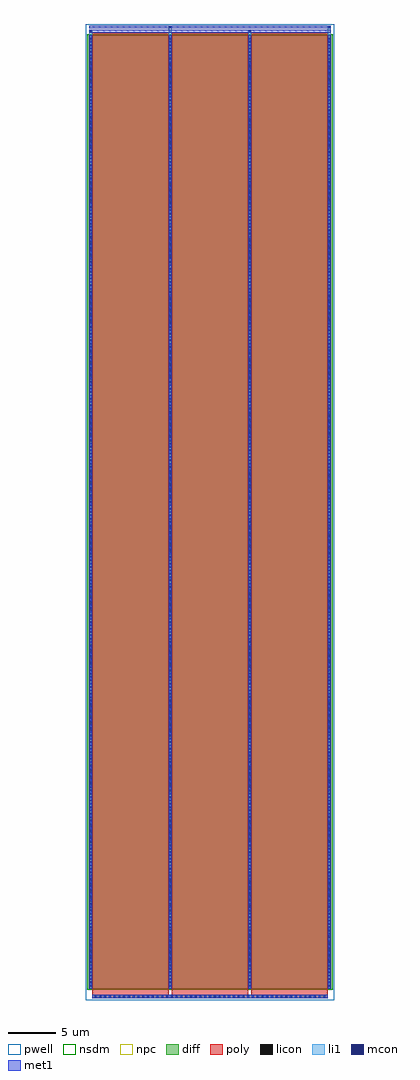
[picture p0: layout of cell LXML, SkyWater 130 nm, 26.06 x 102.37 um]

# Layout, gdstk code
import gdstk
lib = gdstk.Library(unit=1e-6, precision=5e-09)
def R(c, l, rs):  # rectangles x0, y0, x1, y1
    for r in rs: c.add(gdstk.rectangle(r[:2], r[2:], *l))
def A(c, l, x, y, w, h, nx, ny, dx, dy):  # array of equal rectangles
    R(c, l, [(x+i*dx, y+j*dy, x+i*dx+w, y+j*dy+h) for i in range(nx) for j in range(ny)])
pwell = (64, 44)
diff = (65, 20)
poly = (66, 20)
licon = (66, 44)
li1 = (67, 20)
mcon = (67, 44)
met1 = (68, 20)
nsdm = (93, 44)
npc = (95, 20)

lxml = lib.new_cell('LXML')
R(lxml, pwell, [(-13.03,-51.18,13.03,51.185)])
R(lxml, diff, [(-12.72,-50,12.72,50)])
A(lxml, poly, -12.165, -50.98, 0.33, 0.33, 49, 1, 0.5, 0)
A(lxml, poly, -12.33, -50.65, 8, 0.4, 3, 1, 8.33, 0)
A(lxml, poly, -12.33, -50.25, 8, 100.5, 3, 1, 8.33, 0)
R(lxml, poly, [(-12.33,-50.98,12.33,-50.65)])
A(lxml, licon, -12.085, -50.9, 0.17, 0.17, 49, 1, 0.5, 0)
A(lxml, licon, -12.58, -49.725, 0.17, 0.17, 4, 293, 8.33, 0.34)
A(lxml, li1, -12.165, -50.98, 0.33, 0.33, 49, 1, 0.5, 0)
A(lxml, li1, -12.66, -50, 0.33, 100, 4, 1, 8.33, 0)
A(lxml, li1, -12.66, -49.805, 0.33, 0.33, 4, 293, 8.33, 0.34)
A(lxml, li1, -12.58, -49.765, 0.17, 0.17, 4, 277, 8.33, 0.36)
A(lxml, li1, -12.58, -49.765, 0.17, 99.53, 4, 1, 8.33, 0)
R(lxml, li1, [(-12.66,50,-12.33,50.515), (-4.33,50,-4,50.945), (4,50,4.33,50.515), (12.33,50,12.66,50.945), (-12.58,50.345,-12.41,50.515), (4.08,50.345,4.25,50.515), (-4.25,50.775,-4.08,50.945), (12.41,50.775,12.58,50.945)])
A(lxml, mcon, -12.085, -50.9, 0.17, 0.17, 49, 1, 0.5, 0)
A(lxml, mcon, -12.58, -49.765, 0.17, 0.17, 4, 277, 8.33, 0.36)
R(lxml, mcon, [(-12.58,50.345,-12.41,50.515), (4.08,50.345,4.25,50.515), (-4.25,50.775,-4.08,50.945), (12.41,50.775,12.58,50.945)])
A(lxml, met1, -12.145, -50.96, 0.29, 0.29, 49, 1, 0.5, 0)
A(lxml, met1, -12.64, -50, 0.29, 100, 4, 1, 8.33, 0)
A(lxml, met1, -12.64, -49.825, 0.29, 0.29, 4, 277, 8.33, 0.36)
R(lxml, met1, [(-12.33,-50.98,12.33,-50.65), (-12.64,50.285,-12.35,50.575), (-12.64,50.285,12.64,50.575), (4.02,50.285,4.31,50.575), (-12.64,50.715,12.64,51.005), (-4.31,50.715,-4.02,51.005), (12.35,50.715,12.64,51.005)])
R(lxml, nsdm, [(-12.85,-50.13,12.85,50.13)])
A(lxml, npc, -12.185, -51, 0.37, 0.37, 49, 1, 0.5, 0)
R(lxml, npc, [(-12.185,-51,-11.315,-50.63), (-12.185,-51,-11.315,-50.63), (-11.685,-51,-10.815,-50.63), (-11.685,-51,-10.815,-50.63), (-11.185,-51,-10.315,-50.63), (-11.185,-51,-10.315,-50.63), (-10.685,-51,-9.815,-50.63), (-10.685,-51,-9.815,-50.63), (-10.185,-51,-9.315,-50.63), (-10.185,-51,-9.315,-50.63), (-9.685,-51,-8.815,-50.63), (-9.685,-51,-8.815,-50.63), (-9.185,-51,-8.315,-50.63), (-9.185,-51,-8.315,-50.63), (-8.685,-51,-7.815,-50.63), (-8.685,-51,-7.815,-50.63), (-8.185,-51,-7.315,-50.63), (-8.185,-51,-7.315,-50.63), (-7.685,-51,-6.815,-50.63), (-7.685,-51,-6.815,-50.63), (-7.185,-51,-6.315,-50.63), (-7.185,-51,-6.315,-50.63), (-6.685,-51,-5.815,-50.63), (-6.685,-51,-5.815,-50.63), (-6.185,-51,-5.315,-50.63), (-6.185,-51,-5.315,-50.63), (-5.685,-51,-4.815,-50.63), (-5.685,-51,-4.815,-50.63), (-5.185,-51,-4.315,-50.63), (-5.185,-51,-4.315,-50.63), (-4.685,-51,-3.815,-50.63), (-4.685,-51,-3.815,-50.63), (-4.185,-51,-3.315,-50.63), (-4.185,-51,-3.315,-50.63), (-3.685,-51,-2.815,-50.63), (-3.685,-51,-2.815,-50.63), (-3.185,-51,-2.315,-50.63), (-3.185,-51,-2.315,-50.63), (-2.685,-51,-1.815,-50.63), (-2.685,-51,-1.815,-50.63), (-2.185,-51,-1.315,-50.63), (-2.185,-51,-1.315,-50.63), (-1.685,-51,-0.815,-50.63), (-1.685,-51,-0.815,-50.63), (-1.185,-51,-0.315,-50.63), (-1.185,-51,-0.315,-50.63), (-0.685,-51,0.185,-50.63), (-0.685,-51,0.185,-50.63), (-0.185,-51,0.685,-50.63), (-0.185,-51,0.685,-50.63), (0.315,-51,1.185,-50.63), (0.315,-51,1.185,-50.63), (0.815,-51,1.685,-50.63), (0.815,-51,1.685,-50.63), (1.315,-51,2.185,-50.63), (1.315,-51,2.185,-50.63), (1.815,-51,2.685,-50.63), (1.815,-51,2.685,-50.63), (2.315,-51,3.185,-50.63), (2.315,-51,3.185,-50.63), (2.815,-51,3.685,-50.63), (2.815,-51,3.685,-50.63), (3.315,-51,4.185,-50.63), (3.315,-51,4.185,-50.63), (3.815,-51,4.685,-50.63), (3.815,-51,4.685,-50.63), (4.315,-51,5.185,-50.63), (4.315,-51,5.185,-50.63), (4.815,-51,5.685,-50.63), (4.815,-51,5.685,-50.63), (5.315,-51,6.185,-50.63), (5.315,-51,6.185,-50.63), (5.815,-51,6.685,-50.63), (5.815,-51,6.685,-50.63), (6.315,-51,7.185,-50.63), (6.315,-51,7.185,-50.63), (6.815,-51,7.685,-50.63), (6.815,-51,7.685,-50.63), (7.315,-51,8.185,-50.63), (7.315,-51,8.185,-50.63), (7.815,-51,8.685,-50.63), (7.815,-51,8.685,-50.63), (8.315,-51,9.185,-50.63), (8.315,-51,9.185,-50.63), (8.815,-51,9.685,-50.63), (8.815,-51,9.685,-50.63), (9.315,-51,10.185,-50.63), (9.315,-51,10.185,-50.63), (9.815,-51,10.685,-50.63), (9.815,-51,10.685,-50.63), (10.315,-51,11.185,-50.63), (10.315,-51,11.185,-50.63), (10.815,-51,11.685,-50.63), (10.815,-51,11.685,-50.63), (11.315,-51,12.185,-50.63), (11.315,-51,12.185,-50.63)])

lib.write_gds('LXML.gds')
